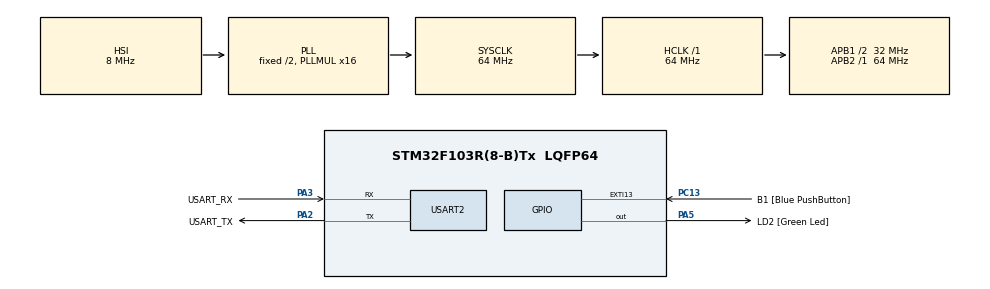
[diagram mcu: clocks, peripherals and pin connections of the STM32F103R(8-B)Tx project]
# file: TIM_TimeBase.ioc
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Mcu.Family=STM32F1
Mcu.Name=STM32F103R(8-B)Tx
Mcu.Package=LQFP64
NVIC.EXTI15_10_IRQn=true\:0\:0\:false\:false\:true\:true\:true\:true
NVIC.PriorityGroup=NVIC_PRIORITYGROUP_4
NVIC.TIM2_IRQn=true\:0\:0\:false\:false\:true\:true\:true\:true
PA13.GPIO_Label=TMS
PA13.Mode=Serial_Wire
PA13.Signal=SYS_JTMS-SWDIO
PA14.GPIO_Label=TCK
PA14.Mode=Serial_Wire
PA14.Signal=SYS_JTCK-SWCLK
PA2.GPIO_Label=USART_TX
PA2.GPIO_Mode=GPIO_MODE_AF_PP
PA2.GPIO_PuPd=GPIO_NOPULL
PA2.GPIO_Speed=GPIO_SPEED_FREQ_LOW
PA2.Mode=Asynchronous
PA2.Signal=USART2_TX
PA3.GPIO_Label=USART_RX
PA3.GPIO_Mode=GPIO_MODE_AF_PP
PA3.GPIO_PuPd=GPIO_NOPULL
PA3.GPIO_Speed=GPIO_SPEED_FREQ_LOW
PA3.Mode=Asynchronous
PA3.Signal=USART2_RX
PA5.GPIO_Label=LD2 [Green Led]
PA5.GPIO_ModeDefaultOutputPP=GPIO_MODE_OUTPUT_PP
PA5.GPIO_PuPd=GPIO_NOPULL
PA5.GPIO_Speed=GPIO_SPEED_FREQ_LOW
PA5.Signal=GPIO_Output
PB3.GPIO_Label=SWO
PB3.Signal=SYS_JTDO-TRACESWO
PC13-TAMPER-RTC.GPIO_Label=B1 [Blue PushButton]
PC13-TAMPER-RTC.GPIO_PuPd=GPIO_NOPULL
PC13-TAMPER-RTC.Signal=GPXTI13
PC14-OSC32_IN.Mode=LSE-External-Oscillator
PC14-OSC32_IN.Signal=RCC_OSC32_IN
PC15-OSC32_OUT.Mode=LSE-External-Oscillator
PC15-OSC32_OUT.Signal=RCC_OSC32_OUT
PD0-OSC_IN.Mode=HSE-External-Clock-Source
PD0-OSC_IN.Signal=RCC_OSC_IN
PD1-OSC_OUT.Mode=HSE-External-Clock-Source
PD1-OSC_OUT.Signal=RCC_OSC_OUT
ProjectManager.HeapSize=0x200
ProjectManager.StackSize=0x400
ProjectManager.TargetToolchain=STM32CubeIDE
RCC.AHBFreq_Value=64000000
RCC.APB1CLKDivider=RCC_HCLK_DIV2
RCC.APB1Freq_Value=32000000
RCC.APB1TimFreq_Value=64000000
RCC.APB2Freq_Value=64000000
RCC.APB2TimFreq_Value=64000000
RCC.HCLKFreq_Value=64000000
RCC.PLLMUL=RCC_PLL_MUL16
RCC.RTCClockSelection=RCC_RTCCLKSOURCE_LSE
RCC.SYSCLKFreq_VALUE=64000000
RCC.SYSCLKSource=RCC_SYSCLKSOURCE_PLLCLK
RCC.USBFreq_Value=64000000
TIM2.Period=999
TIM2.Prescaler=63
USART2.VirtualMode=VM_ASYNC
VP_TIM2_VS_ClockSourceINT.Mode=Internal
board=NUCLEO-F103RB

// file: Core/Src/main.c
/* USER CODE BEGIN Header */
/**
  ******************************************************************************
  * @file           : main.c
  * @brief          : Main program body
  ******************************************************************************
  * @attention
  *
  * Copyright (c) 2022 STMicroelectronics.
  * All rights reserved.
  *
  * This software is licensed under terms that can be found in the LICENSE file
  * in the root directory of this software component.
  * If no LICENSE file comes with this software, it is provided AS-IS.
  *
  ******************************************************************************
  */
/* USER CODE END Header */
#include "main.h"

TIM_HandleTypeDef htim2;

UART_HandleTypeDef huart2;

/* USER CODE BEGIN PV */
uint32_t uwIncrementState = 0;
/* USER CODE END PV */

void SystemClock_Config(void);
static void MX_GPIO_Init(void);
static void MX_USART2_UART_Init(void);
static void MX_TIM2_Init(void);

int main(void)
{

  /* MCU Configuration--------------------------------------------------------*/

  /* Reset of all peripherals, Initializes the Flash interface and the Systick. */
  HAL_Init();

  /* Configure the system clock */
  SystemClock_Config();

  /* Initialize all configured peripherals */
  MX_GPIO_Init();
  MX_USART2_UART_Init();
  MX_TIM2_Init();
  /* USER CODE BEGIN 2 */
  /* Start the TIM time Base generation in interrupt mode */
  HAL_TIM_Base_Start_IT(&htim2);
  /* USER CODE END 2 */

  /* Infinite loop */
  /* USER CODE BEGIN WHILE */
  while (1)
  {
    /* Insert a 1s delay */
    HAL_Delay(1000);

    HAL_GPIO_TogglePin(LD2_GPIO_Port, LD2_Pin);
    /* USER CODE END WHILE */

  }
}

void SystemClock_Config(void)
{
  RCC_OscInitTypeDef RCC_OscInitStruct = {0};
  RCC_ClkInitTypeDef RCC_ClkInitStruct = {0};

  /** Initializes the RCC Oscillators according to the specified parameters
  * in the RCC_OscInitTypeDef structure.
  */
  RCC_OscInitStruct.OscillatorType = RCC_OSCILLATORTYPE_HSI;
  RCC_OscInitStruct.HSIState = RCC_HSI_ON;
  RCC_OscInitStruct.HSICalibrationValue = RCC_HSICALIBRATION_DEFAULT;
  RCC_OscInitStruct.PLL.PLLState = RCC_PLL_ON;
  RCC_OscInitStruct.PLL.PLLSource = RCC_PLLSOURCE_HSI_DIV2;
  RCC_OscInitStruct.PLL.PLLMUL = RCC_PLL_MUL16;
  if (HAL_RCC_OscConfig(&RCC_OscInitStruct) != HAL_OK)
  {
    Error_Handler();
  }

  /** Initializes the CPU, AHB and APB buses clocks
  */
  RCC_ClkInitStruct.ClockType = RCC_CLOCKTYPE_HCLK|RCC_CLOCKTYPE_SYSCLK
                              |RCC_CLOCKTYPE_PCLK1|RCC_CLOCKTYPE_PCLK2;
  RCC_ClkInitStruct.SYSCLKSource = RCC_SYSCLKSOURCE_PLLCLK;
  RCC_ClkInitStruct.AHBCLKDivider = RCC_SYSCLK_DIV1;
  RCC_ClkInitStruct.APB1CLKDivider = RCC_HCLK_DIV2;
  RCC_ClkInitStruct.APB2CLKDivider = RCC_HCLK_DIV1;

  if (HAL_RCC_ClockConfig(&RCC_ClkInitStruct, FLASH_LATENCY_2) != HAL_OK)
  {
    Error_Handler();
  }
}

static void MX_TIM2_Init(void)
{

  TIM_ClockConfigTypeDef sClockSourceConfig = {0};
  TIM_MasterConfigTypeDef sMasterConfig = {0};

  htim2.Instance = TIM2;
  htim2.Init.Prescaler = 63;
  htim2.Init.CounterMode = TIM_COUNTERMODE_UP;
  htim2.Init.Period = 999;
  htim2.Init.ClockDivision = TIM_CLOCKDIVISION_DIV1;
  htim2.Init.AutoReloadPreload = TIM_AUTORELOAD_PRELOAD_DISABLE;
  if (HAL_TIM_Base_Init(&htim2) != HAL_OK)
  {
    Error_Handler();
  }
  sClockSourceConfig.ClockSource = TIM_CLOCKSOURCE_INTERNAL;
  if (HAL_TIM_ConfigClockSource(&htim2, &sClockSourceConfig) != HAL_OK)
  {
    Error_Handler();
  }
  sMasterConfig.MasterOutputTrigger = TIM_TRGO_RESET;
  sMasterConfig.MasterSlaveMode = TIM_MASTERSLAVEMODE_DISABLE;
  if (HAL_TIMEx_MasterConfigSynchronization(&htim2, &sMasterConfig) != HAL_OK)
  {
    Error_Handler();
  }

}

static void MX_USART2_UART_Init(void)
{

  huart2.Instance = USART2;
  huart2.Init.BaudRate = 115200;
  huart2.Init.WordLength = UART_WORDLENGTH_8B;
  huart2.Init.StopBits = UART_STOPBITS_1;
  huart2.Init.Parity = UART_PARITY_NONE;
  huart2.Init.Mode = UART_MODE_TX_RX;
  huart2.Init.HwFlowCtl = UART_HWCONTROL_NONE;
  huart2.Init.OverSampling = UART_OVERSAMPLING_16;
  if (HAL_UART_Init(&huart2) != HAL_OK)
  {
    Error_Handler();
  }

}

static void MX_GPIO_Init(void)
{
  GPIO_InitTypeDef GPIO_InitStruct = {0};

  /* GPIO Ports Clock Enable */
  __HAL_RCC_GPIOC_CLK_ENABLE();
  __HAL_RCC_GPIOD_CLK_ENABLE();
  __HAL_RCC_GPIOA_CLK_ENABLE();
  __HAL_RCC_GPIOB_CLK_ENABLE();

  /*Configure GPIO pin Output Level */
  HAL_GPIO_WritePin(LD2_GPIO_Port, LD2_Pin, GPIO_PIN_RESET);

  /*Configure GPIO pin : B1_Pin */
  GPIO_InitStruct.Pin = B1_Pin;
  GPIO_InitStruct.Mode = GPIO_MODE_IT_RISING;
  GPIO_InitStruct.Pull = GPIO_NOPULL;
  HAL_GPIO_Init(B1_GPIO_Port, &GPIO_InitStruct);

  /*Configure GPIO pin : LD2_Pin */
  GPIO_InitStruct.Pin = LD2_Pin;
  GPIO_InitStruct.Mode = GPIO_MODE_OUTPUT_PP;
  GPIO_InitStruct.Pull = GPIO_NOPULL;
  GPIO_InitStruct.Speed = GPIO_SPEED_FREQ_LOW;
  HAL_GPIO_Init(LD2_GPIO_Port, &GPIO_InitStruct);

  /* EXTI interrupt init*/
  HAL_NVIC_SetPriority(EXTI15_10_IRQn, 0, 0);
  HAL_NVIC_EnableIRQ(EXTI15_10_IRQn);

}

/* USER CODE BEGIN 4 */
/**
  * @brief  Suspend Tick increment.
  * @note   Disable the tick increment by disabling TIM2 update interrupt.
  * @param  None
  * @retval None
  */
void HAL_SuspendTick(void)
{
  /* Disable TIM2 update Interrupt */
  __HAL_TIM_DISABLE_IT(&htim2, TIM_IT_UPDATE);
}

/**
  * @brief  Resume Tick increment.
  * @note   Enable the tick increment by Enabling TIM2 update interrupt.
  * @param  None
  * @retval None
  */
void HAL_ResumeTick(void)
{
  /* Enable TIM2 Update interrupt */
  __HAL_TIM_ENABLE_IT(&htim2, TIM_IT_UPDATE);
}

/**
  * @brief  Period elapsed callback in non blocking mode
  * @note   This function is called  when TIM2 interrupt took place, inside
  * HAL_TIM_IRQHandler(). It makes a direct call to HAL_IncTick() to increment
  * a global variable "uwTick" used as application time base.
  * @param  htim : TIM handle
  * @retval None
  */
void HAL_TIM_PeriodElapsedCallback(TIM_HandleTypeDef *htim)
{
  HAL_IncTick();
}

/**
  * @brief EXTI line detection callback.
  * @param GPIO_Pin: Specifies the pins connected EXTI line
  * @retval None
  */
void HAL_GPIO_EXTI_Callback(uint16_t GPIO_Pin)
{
  if(GPIO_Pin == B1_Pin)
  {
    if (uwIncrementState == 0)
    {
      /* Suspend tick increment */
      HAL_SuspendTick();

      /* Change the Push button state */
      uwIncrementState = 1;
    }
    else
    {
      /* Resume tick increment */
      HAL_ResumeTick();

      /* Change the Push button state */
      uwIncrementState = 0;
    }
  }
}
/* USER CODE END 4 */

void Error_Handler(void)
{
  __disable_irq();
  while (1)
  {
  }
}
